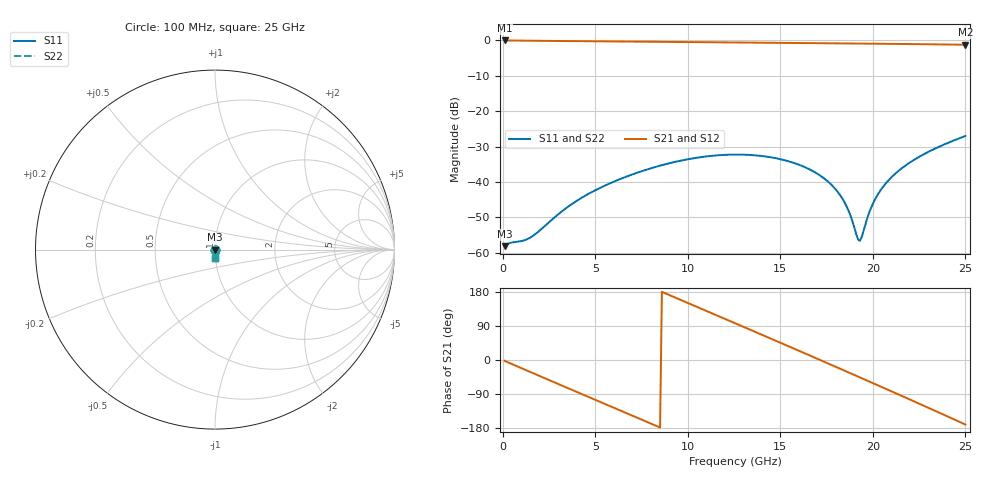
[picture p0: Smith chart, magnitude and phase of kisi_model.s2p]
! kisi C_s8_nonfp: fast channel model (formula impedances, via model), up to 25 GHz
# Hz S RI R 50
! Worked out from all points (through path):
!   250 points, 100 MHz to 25 GHz, reference 50 ohm
!   highest |S21| = -0.02 dB at 100 MHz (marker M1); lowest = -1.2 dB at 25 GHz (marker M2)
!   group delay of S21, straight-line fit = 58.6 ps
!   lowest |S11| = -58.1 dB at 100 MHz (marker M3), VSWR 1.00, Z = 50.1 - j0.00486 ohm
!   |S11| at or under -10 dB: start of sweep to end of sweep
!   |S22| runs from -58.1 to -27.0 dB; largest |S21 - S12| = 0
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1e8  0.00124 -4.85e-05  0.9973 -0.0383  0.9973 -0.0383  0.00124 -4.85e-05
1.2e9  0.000235 -0.0015  0.8938 -0.4281  0.8938 -0.4281  0.000235 -0.0015
2.4e9  -0.00234 -0.00105  0.622 -0.7629  0.622 -0.7629  -0.00234 -0.00105
4.3e9  -0.00497 0.00349  -0.00911 -0.9745  -0.00911 -0.9745  -0.00497 0.00349
6.1e9  -0.00376 0.00968  -0.5956 -0.7601  -0.5956 -0.7601  -0.00376 0.00968
7.3e9  -0.000451 0.0136  -0.856 -0.4343  -0.856 -0.4343  -0.000451 0.0136
8.4e9  0.00452 0.0161  -0.9524 -0.0659  -0.9524 -0.0659  0.00452 0.0161
1.03e10  0.016 0.0146  -0.7679 0.5521  -0.7679 0.5521  0.016 0.0146
1.15e10  0.0221 0.00853  -0.4583 0.8209  -0.4583 0.8209  0.0221 0.00853
1.26e10  0.0244 0.000189  -0.0997 0.9297  -0.0997 0.9297  0.0244 0.000189
1.45e10  0.0178 -0.0135  0.5158 0.7692  0.5158 0.7692  0.0178 -0.0135
1.56e10  0.00938 -0.0166  0.773 0.5007  0.773 0.5007  0.00938 -0.0166
1.67e10  0.00121 -0.0145  0.9028 0.153  0.9028 0.153  0.00121 -0.0145
1.82e10  -0.00383 -0.0055  0.8403 -0.345  0.8403 -0.345  -0.00383 -0.0055
1.87e10  -0.00319 -0.00217  0.7596 -0.4936  0.7596 -0.4936  -0.00319 -0.00217
1.93e10  -0.000884 0.00119  0.6285 -0.6481  0.6285 -0.6481  -0.000884 0.00119
2e10  0.00354 0.00344  0.4368 -0.7859  0.4368 -0.7859  0.00354 0.00344
2.09e10  0.0106 0.00258  0.1497 -0.8816  0.1497 -0.8816  0.0106 0.00258
2.18e10  0.0171 -0.00317  -0.1528 -0.8759  -0.1528 -0.8759  0.0171 -0.00317
2.28e10  0.0203 -0.0146  -0.4643 -0.7512  -0.4643 -0.7512  0.0203 -0.0146
2.4e10  0.0148 -0.032  -0.7432 -0.4627  -0.7432 -0.4627  0.0148 -0.032
2.5e10  0.000629 -0.0447  -0.8561 -0.147  -0.8561 -0.147  0.000629 -0.0447
